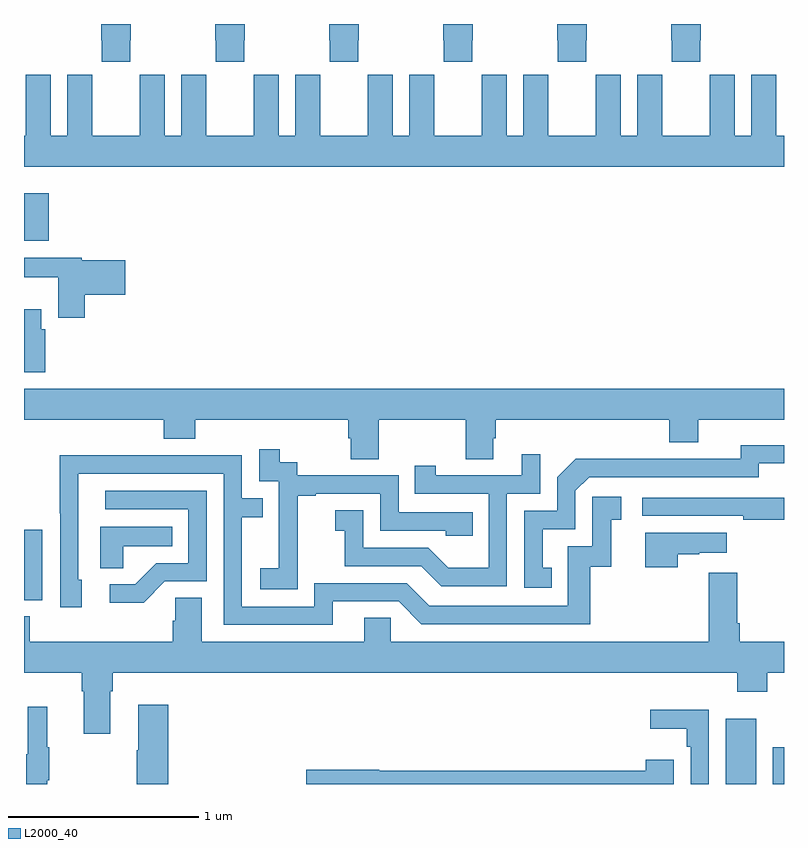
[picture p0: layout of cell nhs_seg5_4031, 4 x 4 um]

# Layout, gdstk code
import gdstk
lib = gdstk.Library(unit=1e-6, precision=1e-09)
def R(c, l, rs):  # rectangles x0, y0, x1, y1
    for r in rs: c.add(gdstk.rectangle(r[:2], r[2:], *l))
def P(c, l, *ps):  # polygons
    for p in ps: c.add(gdstk.Polygon(p, *l))
L2000_40 = (2000, 40)

nhs_seg5_4031 = lib.new_cell('nhs_seg5_4031')
R(nhs_seg5_4031, L2000_40, [(350.693,898.799,350.854,899.143), (350.942,898.799,351,898.993), (347,901.659,347.129,901.909)])
P(nhs_seg5_4031, L2000_40, [(347.559,902.713),(347.562,902.713),(347.562,902.799),(347.407,902.799),(347.407,902.713),(347.409,902.713),(347.409,902.601),(347.559,902.601)],
  [(348.159,902.713),(348.162,902.713),(348.162,902.799),(348.007,902.799),(348.007,902.713),(348.009,902.713),(348.009,902.601),(348.159,902.601)],
  [(348.759,902.713),(348.762,902.713),(348.762,902.799),(348.607,902.799),(348.607,902.713),(348.609,902.713),(348.609,902.601),(348.759,902.601)],
  [(349.359,902.713),(349.362,902.713),(349.362,902.799),(349.207,902.799),(349.207,902.713),(349.209,902.713),(349.209,902.601),(349.359,902.601)],
  [(349.959,902.713),(349.962,902.713),(349.962,902.799),(349.807,902.799),(349.807,902.713),(349.809,902.713),(349.809,902.601),(349.959,902.601)],
  [(350.407,902.713),(350.409,902.713),(350.409,902.601),(350.559,902.601),(350.559,902.713),(350.562,902.713),(350.562,902.799),(350.407,902.799)],
  [(351,902.212),(350.959,902.212),(350.959,902.42),(350.958,902.42),(350.958,902.533),(350.828,902.533),(350.828,902.212),(350.74,902.212),(350.74,902.533),(350.61,902.533),(350.61,902.42),(350.609,902.42),(350.609,902.212),(350.359,902.212),(350.359,902.42),(350.358,902.42),(350.358,902.533),(350.228,902.533),(350.228,902.212),(350.14,902.212),(350.14,902.533),(350.01,902.533),(350.01,902.42),(350.009,902.42),(350.009,902.212),(349.759,902.212),(349.759,902.42),(349.758,902.42),(349.758,902.533),(349.628,902.533),(349.628,902.212),(349.54,902.212),(349.54,902.533),(349.41,902.533),(349.41,902.42),(349.409,902.42),(349.409,902.212),(349.159,902.212),(349.159,902.42),(349.158,902.42),(349.158,902.533),(349.028,902.533),(349.028,902.212),(348.94,902.212),(348.94,902.533),(348.81,902.533),(348.81,902.42),(348.809,902.42),(348.809,902.212),(348.559,902.212),(348.559,902.42),(348.558,902.42),(348.558,902.533),(348.428,902.533),(348.428,902.212),(348.34,902.212),(348.34,902.533),(348.21,902.533),(348.21,902.42),(348.209,902.42),(348.209,902.212),(347.959,902.212),(347.959,902.42),(347.958,902.42),(347.958,902.533),(347.828,902.533),(347.828,902.212),(347.74,902.212),(347.74,902.533),(347.61,902.533),(347.61,902.42),(347.609,902.42),(347.609,902.212),(347.359,902.212),(347.359,902.42),(347.358,902.42),(347.358,902.533),(347.228,902.533),(347.228,902.212),(347.14,902.212),(347.14,902.533),(347.01,902.533),(347.01,902.42),(347.009,902.42),(347.009,902.212),(347,902.212),(347,902.048),(351,902.048)],
  [(347.321,901.373),(347.533,901.373),(347.533,901.556),(347.304,901.556),(347.304,901.57),(347,901.57),(347,901.466),(347.18,901.466),(347.18,901.254),(347.321,901.254)],
  [(347.111,901.193),(347.091,901.193),(347.091,901.297),(347,901.297),(347,900.965),(347.111,900.965)],
  [(348.867,900.716),(349.324,900.716),(349.324,900.508),(349.471,900.508),(349.471,900.618),(349.484,900.618),(349.484,900.716),(350.396,900.716),(350.396,900.599),(350.548,900.599),(350.548,900.716),(351,900.716),(351,900.88),(347,900.88),(347,900.716),(347.735,900.716),(347.735,900.617),(347.9,900.617),(347.9,900.716),(348.707,900.716),(348.707,900.618),(348.719,900.618),(348.719,900.508),(348.867,900.508)],
  [(349.778,899.937),(349.729,899.937),(349.729,900.141),(349.902,900.141),(349.902,900.342),(349.974,900.414),(350.868,900.414),(350.868,900.486),(351,900.486),(351,900.583),(350.772,900.583),(350.772,900.51),(350.312,900.51),(350.312,900.512),(349.904,900.512),(349.806,900.414),(349.806,900.237),(349.632,900.237),(349.632,899.832),(349.778,899.832)],
  [(348.441,900.031),(348.44,900.031),(348.44,900.315),(348.535,900.315),(348.535,900.327),(348.876,900.327),(348.876,900.132),(349.221,900.132),(349.221,900.105),(349.361,900.105),(349.361,900.228),(348.972,900.228),(348.972,900.423),(348.438,900.423),(348.438,900.492),(348.346,900.492),(348.346,900.562),(348.237,900.562),(348.237,900.393),(348.342,900.393),(348.342,900.164),(348.341,900.164),(348.341,899.935),(348.243,899.935),(348.243,899.825),(348.441,899.825)],
  [(349.542,900.327),(349.716,900.327),(349.716,900.535),(349.619,900.535),(349.619,900.423),(349.168,900.423),(349.168,900.475),(349.057,900.475),(349.057,900.327),(349.446,900.327),(349.446,899.938),(349.232,899.938),(349.128,900.042),(348.786,900.042),(348.786,900.241),(348.639,900.241),(348.639,900.131),(348.688,900.131),(348.688,899.946),(349.091,899.946),(349.196,899.841),(349.542,899.841)],
  [(348.625,899.76),(348.972,899.76),(349.092,899.64),(349.979,899.64),(349.979,899.943),(350.09,899.943),(350.09,900.189),(350.143,900.189),(350.143,900.31),(349.992,900.31),(349.992,900.051),(349.863,900.051),(349.863,899.736),(349.134,899.736),(349.014,899.856),(348.528,899.856),(348.528,899.733),(348.147,899.733),(348.147,900.202),(348.257,900.202),(348.257,900.303),(348.147,900.303),(348.147,900.528),(347.651,900.528),(347.651,900.53),(347.188,900.53),(347.188,900.223),(347.19,900.223),(347.19,899.73),(347.305,899.73),(347.305,899.874),(347.286,899.874),(347.286,900.432),(348.051,900.432),(348.051,899.637),(348.625,899.637)],
  [(347.742,899.865),(347.961,899.865),(347.961,900.342),(347.427,900.342),(347.427,900.246),(347.865,900.246),(347.865,899.961),(347.696,899.961),(347.585,899.85),(347.451,899.85),(347.451,899.753),(347.629,899.753)],
  [(351,900.306),(350.253,900.306),(350.253,900.21),(350.785,900.21),(350.785,900.19),(351,900.19)],
  [(347.523,900.05),(347.78,900.05),(347.78,900.154),(347.402,900.154),(347.402,899.935),(347.523,899.935)],
  [(347.097,900.136),(347.001,900.136),(347.001,899.862),(347,899.862),(347,899.766),(347.097,899.766)],
  [(350.441,900.007),(350.555,900.007),(350.555,900.017),(350.698,900.017),(350.698,900.121),(350.27,900.121),(350.27,899.94),(350.441,899.94)],
  [(347.455,899.288),(347.468,899.288),(347.468,899.384),(350.753,899.384),(350.753,899.285),(350.913,899.285),(350.913,899.384),(351,899.384),(351,899.548),(350.768,899.548),(350.768,899.644),(350.755,899.644),(350.755,899.911),(350.603,899.911),(350.603,899.548),(348.93,899.548),(348.93,899.675),(348.791,899.675),(348.791,899.548),(347.935,899.548),(347.935,899.78),(347.796,899.78),(347.796,899.657),(347.783,899.657),(347.783,899.548),(347.03,899.548),(347.03,899.681),(347,899.681),(347,899.384),(347.303,899.384),(347.303,899.288),(347.315,899.288),(347.315,899.064),(347.455,899.064)],
  [(347.759,899.215),(347.6,899.215),(347.6,898.976),(347.593,898.976),(347.593,898.799),(347.759,898.799)],
  [(347.123,898.819),(347.134,898.819),(347.134,898.993),(347.123,898.993),(347.123,899.206),(347.02,899.206),(347.02,898.956),(347.013,898.956),(347.013,898.799),(347.123,898.799)],
  [(350.604,899.189),(350.295,899.189),(350.295,899.09),(350.488,899.09),(350.488,898.994),(350.508,898.994),(350.508,898.799),(350.604,898.799)],
  [(350.419,898.927),(350.273,898.927),(350.273,898.868),(348.87,898.868),(348.87,898.874),(348.486,898.874),(348.486,898.799),(350.419,898.799)])

lib.write_gds('nhs_seg5_4031.gds')
